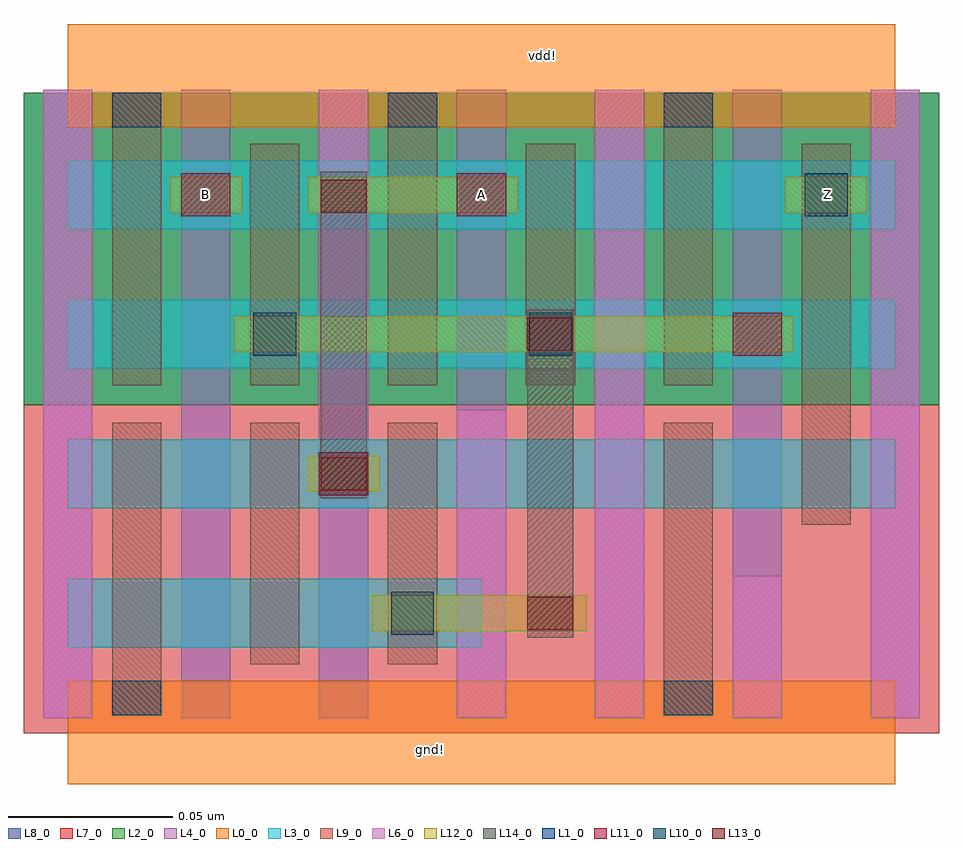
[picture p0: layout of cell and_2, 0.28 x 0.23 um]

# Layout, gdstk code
from math import pi, radians
import gdstk
lib = gdstk.Library(unit=1e-6, precision=5e-10)
def R(c, l, rs):  # rectangles x0, y0, x1, y1
    for r in rs: c.add(gdstk.rectangle(r[:2], r[2:], *l))
def A(c, l, x, y, w, h, nx, ny, dx, dy):  # array of equal rectangles
    R(c, l, [(x+i*dx, y+j*dy, x+i*dx+w, y+j*dy+h) for i in range(nx) for j in range(ny)])
L0_0 = (0, 0)
L1_0 = (1, 0)
L2_0 = (2, 0)
L3_0 = (3, 0)
L4_0 = (4, 0)
L6_0 = (6, 0)
L7_0 = (7, 0)
L8_0 = (8, 0)
L9_0 = (9, 0)
L10_0 = (10, 0)
L11_0 = (11, 0)
L12_0 = (12, 0)
L13_0 = (13, 0)
L14_0 = (14, 0)

pmos = lib.new_cell('pmos')
R(pmos, L2_0, [(-0.042,-0.0205,0.042,0.0205)])
R(pmos, L3_0, [(-0.042,-0.0105,0.042,0.0105)])
A(pmos, L4_0, -0.0495, -0.032, 0.015, 0.064, 3, 1, 0.042, 0)
R(pmos, L8_0, [(-0.0555,-0.0205,0.0555,0.0205)])
R(pmos, L9_0, [(-0.0285,-0.0155,-0.0135,0.0155), (0.0135,-0.0155,0.0285,0.0155)])

nmos = lib.new_cell('nmos')
R(nmos, L3_0, [(-0.042,-0.0105,0.042,0.0105)])
A(nmos, L4_0, -0.0495, -0.032, 0.015, 0.064, 3, 1, 0.042, 0)
R(nmos, L7_0, [(-0.0555,-0.021,0.0555,0.0205)])
R(nmos, L9_0, [(-0.0285,-0.0155,-0.0135,0.0155), (0.0135,-0.0155,0.0285,0.0155)])

gate_m0b = lib.new_cell('GATE_M0B')
R(gate_m0b, L4_0, [(-0.0075,-0.0115,0.0075,0.0115)])
R(gate_m0b, L11_0, [(-0.0075,-0.0065,0.0075,0.0065)])
R(gate_m0b, L12_0, [(-0.011,-0.0055,0.011,0.0055)])

m0a_m0b = lib.new_cell('M0A_M0B')
R(m0a_m0b, L9_0, [(-0.0075,-0.0055,0.0075,0.0055)])
R(m0a_m0b, L10_0, [(-0.0065,-0.0065,0.0065,0.0065)])
R(m0a_m0b, L12_0, [(-0.0125,-0.0055,0.0125,0.0055)])

m0b_m1 = lib.new_cell('M0B_M1')
R(m0b_m1, L12_0, [(-0.011,-0.005,0.011,0.005)])
R(m0b_m1, L13_0, [(-0.007,-0.005,0.007,0.005)])
R(m0b_m1, L14_0, [(-0.007,-0.0075,0.007,0.0075)])

bpr_m0a = lib.new_cell('BPR_M0A')
R(bpr_m0a, L0_0, [(-0.021,-0.0055,0.021,0.026)])
R(bpr_m0a, L1_0, [(-0.0075,-0.0055,0.0075,0.005)])
R(bpr_m0a, L9_0, [(-0.0075,-0.0165,0.0075,0.005)])

and_2 = lib.new_cell('and_2')
R(and_2, L0_0, [(0.4025,0.176,0.6545,0.2075), (0.5,0.1795,0.5265,0.1935), (0.4025,0.376,0.6545,0.4075), (0.535,0.392,0.5595,0.404)])
R(and_2, L2_0, [(0.389,0.2915,0.668,0.3865)])
R(and_2, L3_0, [(0.5285,0.26,0.5705,0.281)])
R(and_2, L4_0, [(0.563,0.196,0.578,0.2415), (0.605,0.196,0.62,0.2385), (0.647,0.196,0.662,0.281)])
A(and_2, L6_0, 0.395, 0.3235, 0.015, 0.064, 4, 1, 0.084, 0)
R(and_2, L6_0, [(0.395,0.196,0.41,0.281), (0.521,0.196,0.536,0.29), (0.563,0.196,0.578,0.29), (0.605,0.196,0.62,0.2395), (0.647,0.196,0.662,0.281), (0.395,0.281,0.41,0.345), (0.647,0.281,0.662,0.345), (0.479,0.29,0.494,0.345), (0.563,0.29,0.578,0.345)])
R(and_2, L7_0, [(0.389,0.1915,0.668,0.2915)])
R(and_2, L8_0, [(0.389,0.2915,0.668,0.3865)])
R(and_2, L9_0, [(0.584,0.217,0.599,0.2565), (0.416,0.2415,0.431,0.256), (0.458,0.2425,0.473,0.256), (0.5,0.2425,0.515,0.256), (0.626,0.284,0.641,0.2995), (0.416,0.3255,0.431,0.343), (0.458,0.326,0.473,0.3425), (0.5,0.3265,0.515,0.3425), (0.584,0.3265,0.599,0.3425), (0.626,0.3265,0.641,0.342), (0.542,0.327,0.557,0.342)])
R(and_2, L12_0, [(0.495,0.2225,0.5605,0.2335), (0.453,0.3075,0.6235,0.3185), (0.437,0.35,0.452,0.361), (0.4755,0.35,0.5395,0.361), (0.521,0.35,0.536,0.361), (0.627,0.35,0.641,0.361)])
R(and_2, L14_0, [(0.5425,0.2205,0.5565,0.3205), (0.4795,0.263,0.4935,0.3625)])
and_2.add(gdstk.Reference(pmos, (0.4445,0.3555)))
and_2.add(gdstk.Reference(pmos, (0.5285,0.3555)))
and_2.add(gdstk.Reference(pmos, (0.6125,0.3555)))
and_2.add(gdstk.Reference(pmos, (0.6125,0.313)))
and_2.add(gdstk.Reference(pmos, (0.5285,0.313)))
and_2.add(gdstk.Reference(pmos, (0.4445,0.313)))
and_2.add(gdstk.Reference(nmos, (0.4445,0.228)))
and_2.add(gdstk.Reference(nmos, (0.4865,0.228)))
and_2.add(gdstk.Reference(nmos, (0.6125,0.2705)))
and_2.add(gdstk.Reference(nmos, (0.4865,0.2705)))
and_2.add(gdstk.Reference(nmos, (0.4445,0.2705)))
and_2.add(gdstk.Reference(gate_m0b, (0.6125,0.313)))
and_2.add(gdstk.Reference(gate_m0b, (0.4865,0.2705)))
and_2.add(gdstk.Reference(gate_m0b, (0.5285,0.3555)))
and_2.add(gdstk.Reference(gate_m0b, (0.4445,0.3555)))
and_2.add(gdstk.Reference(m0a_m0b, (0.5075,0.228)))
and_2.add(gdstk.Reference(m0a_m0b, (0.5495,0.313)))
and_2.add(gdstk.Reference(m0a_m0b, (0.4655,0.313)))
and_2.add(gdstk.Reference(m0a_m0b, (0.6335,0.3555)))
and_2.add(gdstk.Reference(m0b_m1, (0.5495,0.228)))
and_2.add(gdstk.Reference(m0b_m1, (0.5495,0.313)))
and_2.add(gdstk.Reference(m0b_m1, (0.4865,0.355)))
and_2.add(gdstk.Reference(m0b_m1, (0.4865,0.2705)))
and_2.add(gdstk.Reference(bpr_m0a, (0.5915,0.202), rotation=pi))
and_2.add(gdstk.Reference(bpr_m0a, (0.4235,0.202), rotation=pi))
and_2.add(gdstk.Reference(bpr_m0a, (0.5915,0.3815)))
and_2.add(gdstk.Reference(bpr_m0a, (0.5075,0.3815)))
and_2.add(gdstk.Reference(bpr_m0a, (0.4235,0.3815)))
and_2.add(gdstk.Label('Z', (0.634,0.3555), layer=12, texttype=0))
and_2.add(gdstk.Label('B', (0.4445,0.3555), layer=12, texttype=0))
and_2.add(gdstk.Label('A', (0.5285,0.3555), layer=12, texttype=0))
and_2.add(gdstk.Label('vdd!', (0.547,0.398), layer=0, texttype=0))
and_2.add(gdstk.Label('gnd!', (0.513,0.1865), layer=0, texttype=0))

lib.write_gds('and_2.gds')
